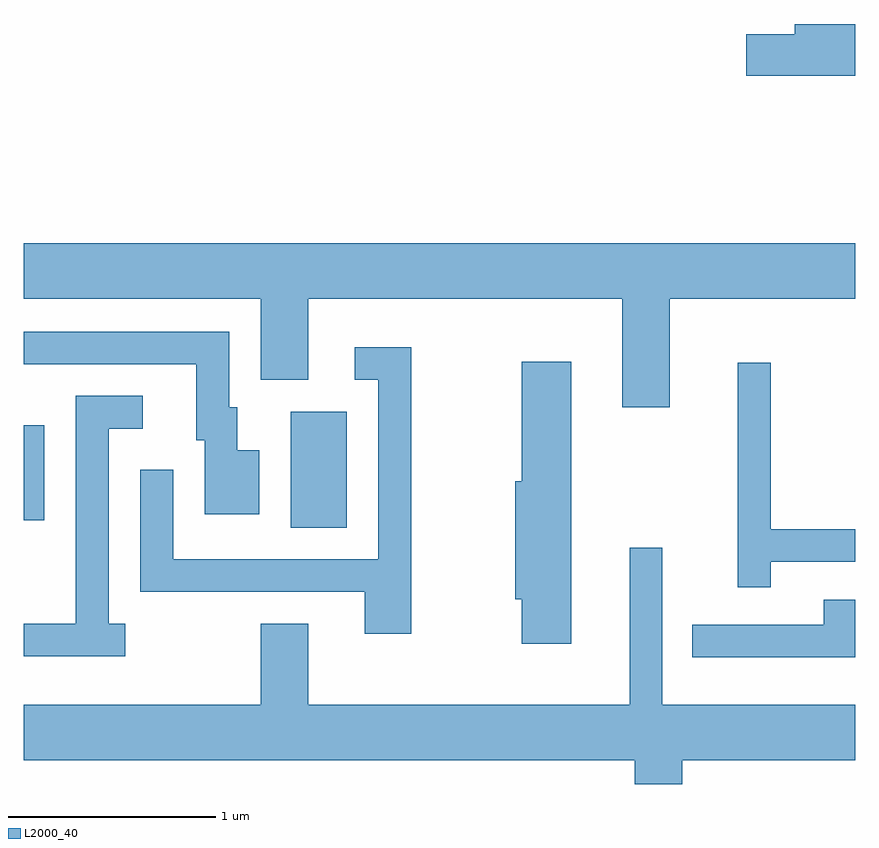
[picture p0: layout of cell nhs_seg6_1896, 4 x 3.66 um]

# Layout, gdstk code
import gdstk
lib = gdstk.Library(unit=1e-6, precision=1e-09)
def R(c, l, rs):  # rectangles x0, y0, x1, y1
    for r in rs: c.add(gdstk.rectangle(r[:2], r[2:], *l))
def P(c, l, *ps):  # polygons
    for p in ps: c.add(gdstk.Polygon(p, *l))
L2000_40 = (2000, 40)

nhs_seg6_1896 = lib.new_cell('nhs_seg6_1896')
R(nhs_seg6_1896, L2000_40, [(244.896,1533.396,245.164,1533.954), (243.611,1533.431,243.709,1533.889)])
P(nhs_seg6_1896, L2000_40, [(247.611,1535.819),(247.321,1535.819),(247.321,1535.769),(247.086,1535.769),(247.086,1535.571),(247.611,1535.571)],
  [(246.719,1534.496),(247.611,1534.496),(247.611,1534.764),(243.611,1534.764),(243.611,1534.496),(244.751,1534.496),(244.751,1534.106),(244.979,1534.106),(244.979,1534.496),(246.491,1534.496),(246.491,1533.976),(246.719,1533.976)],
  [(244.744,1533.769),(244.639,1533.769),(244.639,1533.974),(244.599,1533.974),(244.599,1534.339),(243.611,1534.339),(243.611,1534.181),(244.441,1534.181),(244.441,1533.816),(244.481,1533.816),(244.481,1533.461),(244.744,1533.461)],
  [(245.474,1534.264),(245.203,1534.264),(245.203,1534.106),(245.316,1534.106),(245.316,1533.244),(244.329,1533.244),(244.329,1533.673),(244.171,1533.673),(244.171,1533.086),(245.251,1533.086),(245.251,1532.886),(245.474,1532.886)],
  [(246.244,1534.194),(246.006,1534.194),(246.006,1533.619),(245.976,1533.619),(245.976,1533.051),(246.006,1533.051),(246.006,1532.836),(246.244,1532.836)],
  [(247.204,1533.231),(247.611,1533.231),(247.611,1533.389),(247.204,1533.389),(247.204,1534.188),(247.046,1534.188),(247.046,1533.108),(247.204,1533.108)],
  [(244.098,1532.934),(244.019,1532.934),(244.019,1533.871),(244.183,1533.871),(244.183,1534.029),(243.861,1534.029),(243.861,1532.934),(243.611,1532.934),(243.611,1532.776),(244.098,1532.776)],
  [(246.779,1532.276),(247.611,1532.276),(247.611,1532.544),(246.684,1532.544),(246.684,1533.298),(246.526,1533.298),(246.526,1532.544),(244.979,1532.544),(244.979,1532.934),(244.751,1532.934),(244.751,1532.544),(243.611,1532.544),(243.611,1532.276),(246.551,1532.276),(246.551,1532.162),(246.779,1532.162)],
  [(247.611,1533.049),(247.461,1533.049),(247.461,1532.929),(246.828,1532.929),(246.828,1532.771),(247.611,1532.771)])

lib.write_gds('nhs_seg6_1896.gds')
